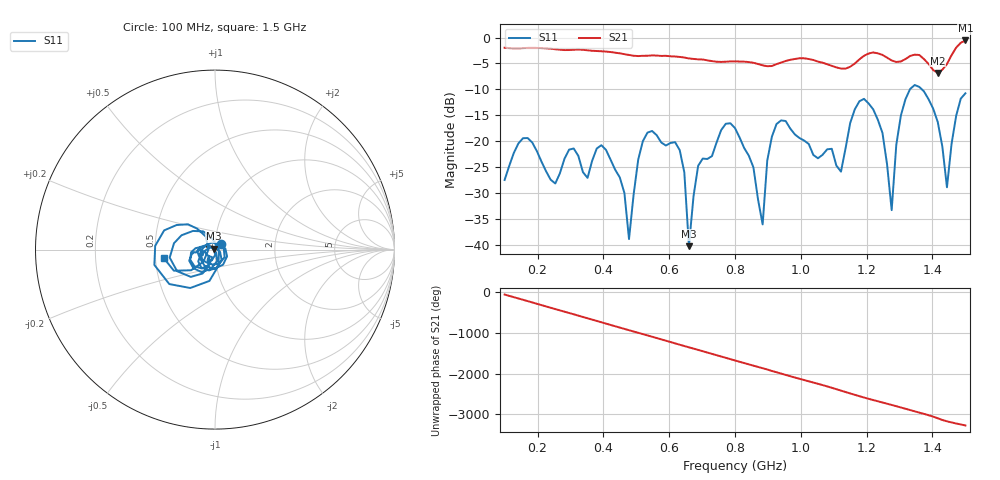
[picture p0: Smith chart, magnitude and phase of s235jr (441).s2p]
! NanoVNA-App
! Date: 2025-09-25 15:07:35
! Start: 100MHz Stop: 1,5GHz Points: 101
! S-Parameter data: F S11 S21 S12 S22
# Hz S RI R 50
!  Frequency  S11_Real  S11_Imag  S21_Real  S21_Imag  S12_Real  S12_Imag  S22_Real  S22_Imag
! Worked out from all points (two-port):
!   101 points, 100 MHz to 1.5 GHz, reference 50 ohm
!   highest |S21| = -0.57 dB at 1.5 GHz (marker M1); lowest = -6.8 dB at 1.416 GHz (marker M2)
!   |S21| within 3 dB of the highest: start of sweep to 503.5 MHz; 509 MHz to 595.8 MHz (86.78 MHz wide, 15.7 % of centre) (the widest 2 of 5)
!   lowest |S11| = -40.2 dB at 660 MHz (marker M3), VSWR 1.02, Z = 49.2 + j0.558 ohm
!   |S11| at or under -10 dB: start of sweep to 1.331 GHz; 1.368 GHz to end of sweep
!   S12 and S22 are empty: the file has one direction only
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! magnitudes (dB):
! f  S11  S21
! 100 MHz  -27.5  -2.0
! 156 MHz  -19.4  -2.0
! 338 MHz  -26.0  -2.4
! 408 MHz  -21.7  -2.7
! 478 MHz  -38.9  -3.4
! 520 MHz  -20.0  -3.5
! 576 MHz  -20.3  -3.6
! 632 MHz  -21.7  -3.7
! 660 MHz  -40.2  -4.0
! 688 MHz  -24.7  -4.2
! 800 MHz  -17.5  -4.6
! 884 MHz  -36.0  -5.4
! 926 MHz  -16.7  -5.1
! 1.038 GHz  -22.6  -4.3
! 1.122 GHz  -25.9  -6.0
! 1.192 GHz  -11.8  -3.5
! 1.248 GHz  -18.4  -3.3
! 1.276 GHz  -33.3  -4.4
! 1.332 GHz  -9.9  -3.6
! 1.416 GHz  -16.3  -6.8
! 1.444 GHz  -28.9  -5.1
! 1.5 GHz  -10.8  -0.6
